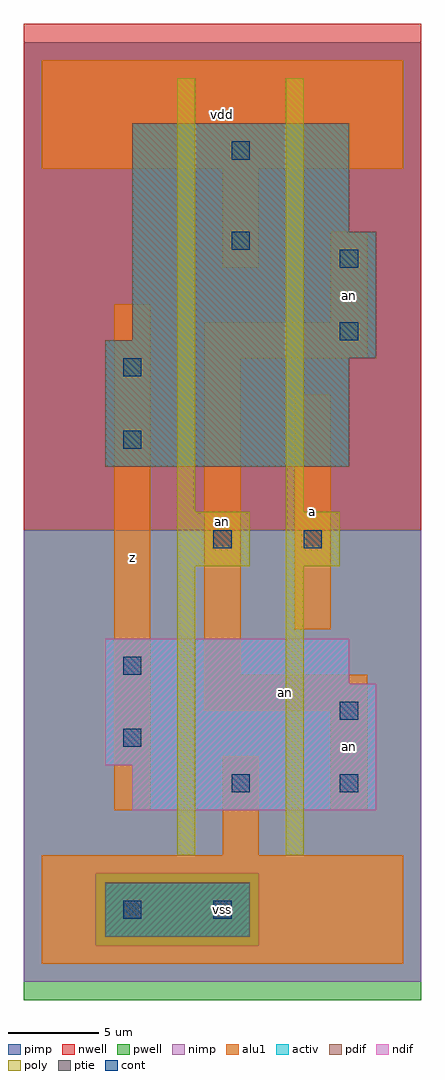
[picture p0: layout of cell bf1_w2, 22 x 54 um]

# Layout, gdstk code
import gdstk
lib = gdstk.Library(unit=1e-6, precision=1e-09)
def R(c, l, rs):  # rectangles x0, y0, x1, y1
    for r in rs: c.add(gdstk.rectangle(r[:2], r[2:], *l))
ndif = (3, 0)
pdif = (4, 0)
ptie = (6, 0)
cont = (25, 0)
pwell = (41, 0)
nwell = (42, 0)
activ = (43, 0)
pimp = (44, 0)
nimp = (45, 0)
poly = (46, 0)
alu1 = (49, 0)

bf1_w2 = lib.new_cell('bf1_w2')
R(bf1_w2, ndif, [(5,8.5,18.5,11), (3.5,11,18.5,15.5), (3.5,15.5,17,18)])
R(bf1_w2, pdif, [(3.5,27.5,17,33.5), (3.5,33.5,18.5,34.5), (5,34.5,18.5,40.5), (5,40.5,17,46.5)])
R(bf1_w2, ptie, [(3.5,1.5,11.5,4.5)])
R(bf1_w2, cont, [(4.5,2.5,5.5,3.5), (9.5,2.5,10.5,3.5), (10.5,9.5,11.5,10.5), (16.5,9.5,17.5,10.5), (4.5,12,5.5,13), (16.5,13.5,17.5,14.5), (4.5,16,5.5,17), (9.5,23,10.5,24), (14.5,23,15.5,24), (4.5,28.5,5.5,29.5), (4.5,32.5,5.5,33.5), (16.5,34.5,17.5,35.5), (16.5,38.5,17.5,39.5), (10.5,39.5,11.5,40.5), (10.5,44.5,11.5,45.5)])
R(bf1_w2, pwell, [(-1,-2,21,24)])
R(bf1_w2, nwell, [(-1,24,21,52)])
R(bf1_w2, activ, [(3.5,1.5,11.5,4.5), (5,8.5,18.5,11), (3.5,11,18.5,15.5), (3.5,15.5,17,18), (3.5,27.5,17,33.5), (3.5,33.5,18.5,34.5), (5,34.5,18.5,40.5), (5,40.5,17,46.5)])
R(bf1_w2, pimp, [(3,1,12,5), (-1,24,21,51)])
R(bf1_w2, nimp, [(-1,-1,21,1), (-1,1,3,5), (12,1,21,5), (-1,5,21,24)])
R(bf1_w2, poly, [(7.5,6,8.5,22), (13.5,6,14.5,22), (7.5,22,11.5,25), (13.5,22,16.5,25), (7.5,25,8.5,49), (13.5,25,14.5,49)])
R(bf1_w2, alu1, [(0,0,20,6), (10,6,12,11.5), (4,8.5,6,36.5), (16,8.5,18,14), (9,14,18,16), (9,16,11,33.5), (14,18.5,16,31.5), (9,33.5,18,35.5), (16,35.5,18,40.5), (10,38.5,12,44), (0,44,20,50)])
bf1_w2.add(gdstk.Label('z', (5,22.5), layer=49, texttype=0))
bf1_w2.add(gdstk.Label('vss', (10,3), layer=49, texttype=0))
bf1_w2.add(gdstk.Label('an', (10,24.5), layer=49, texttype=0))
bf1_w2.add(gdstk.Label('vdd', (10,47), layer=49, texttype=0))
bf1_w2.add(gdstk.Label('an', (17,12), layer=49, texttype=0))
bf1_w2.add(gdstk.Label('an', (13.5,15), layer=49, texttype=0))
bf1_w2.add(gdstk.Label('a', (15,25), layer=49, texttype=0))
bf1_w2.add(gdstk.Label('an', (17,37), layer=49, texttype=0))

lib.write_gds('bf1_w2.gds')
